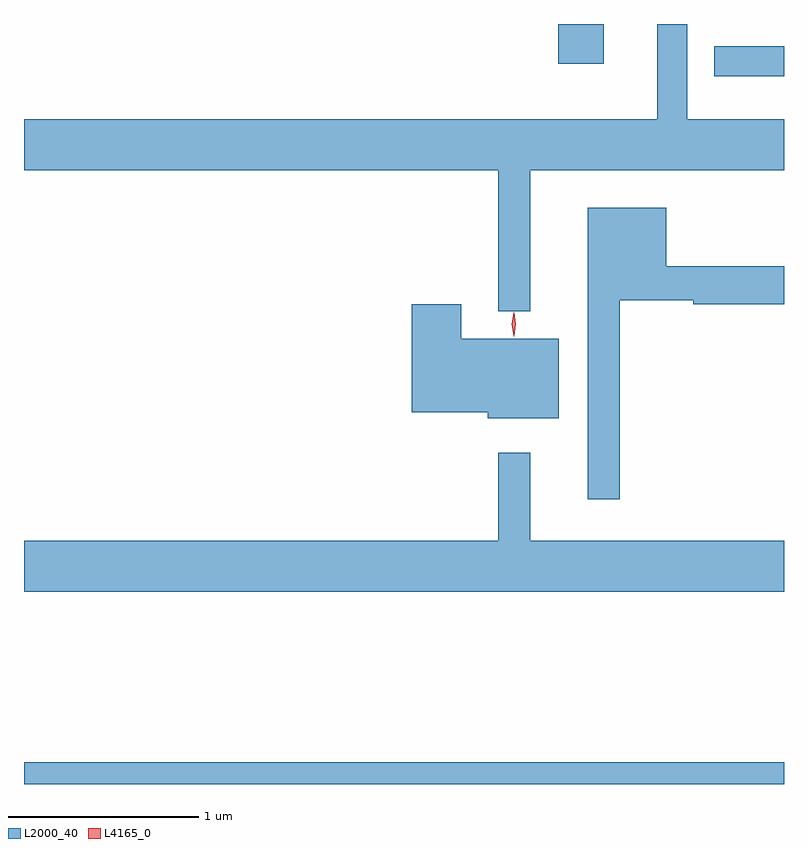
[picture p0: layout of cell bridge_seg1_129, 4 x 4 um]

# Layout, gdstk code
import gdstk
lib = gdstk.Library(unit=1e-6, precision=1e-09)
def R(c, l, rs):  # rectangles x0, y0, x1, y1
    for r in rs: c.add(gdstk.rectangle(r[:2], r[2:], *l))
def P(c, l, *ps):  # polygons
    for p in ps: c.add(gdstk.Polygon(p, *l))
L2000_40 = (2000, 40)
L4165_0 = (4165, 0)

bridge_seg1_129 = lib.new_cell('bridge_seg1_129')
R(bridge_seg1_129, L2000_40, [(1358.744,867.485,1362.744,867.599), (1362.378,871.211,1362.744,871.369), (1361.556,871.276,1361.794,871.485)])
P(bridge_seg1_129, L2000_40, [(1361.409,870.716),(1362.744,870.716),(1362.744,870.984),(1362.234,870.984),(1362.234,871.485),(1362.076,871.485),(1362.076,870.984),(1358.744,870.984),(1358.744,870.716),(1361.241,870.716),(1361.241,869.973),(1361.409,869.973)],
  [(1361.879,870.031),(1362.266,870.031),(1362.266,870.011),(1362.744,870.011),(1362.744,870.209),(1362.124,870.209),(1362.124,870.519),(1361.711,870.519),(1361.711,868.983),(1361.879,868.983)],
  [(1361.559,869.829),(1361.044,869.829),(1361.044,870.009),(1360.786,870.009),(1360.786,869.441),(1361.186,869.441),(1361.186,869.411),(1361.559,869.411)],
  [(1362.744,868.764),(1361.409,868.764),(1361.409,869.228),(1361.241,869.228),(1361.241,868.764),(1358.744,868.764),(1358.744,868.496),(1362.744,868.496)])
P(bridge_seg1_129, L4165_0, [(1361.322,869.842),(1361.322,869.842),(1361.312,869.904),(1361.322,869.966),(1361.322,869.967),(1361.323,869.966),(1361.332,869.904),(1361.323,869.842)])

lib.write_gds('bridge_seg1_129.gds')
